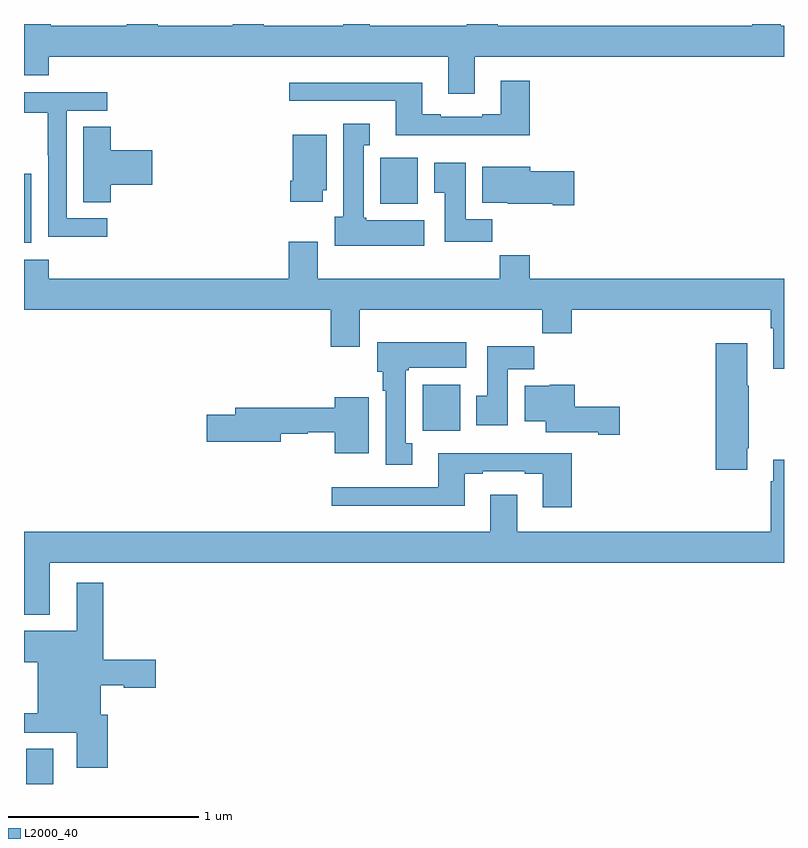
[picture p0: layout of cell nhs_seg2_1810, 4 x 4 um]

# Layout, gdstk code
import gdstk
lib = gdstk.Library(unit=1e-6, precision=1e-09)
def R(c, l, rs):  # rectangles x0, y0, x1, y1
    for r in rs: c.add(gdstk.rectangle(r[:2], r[2:], *l))
def P(c, l, *ps):  # polygons
    for p in ps: c.add(gdstk.Polygon(p, *l))
L2000_40 = (2000, 40)

nhs_seg2_1810 = lib.new_cell('nhs_seg2_1810')
R(nhs_seg2_1810, L2000_40, [(205.013,651.8,205.153,651.986), (207.098,653.66,207.295,653.902), (205,654.65,205.039,655.011), (206.876,654.854,207.073,655.096)])
P(nhs_seg2_1810, L2000_40, [(207.373,655.628),(209,655.628),(209,655.792),(208.983,655.792),(208.983,655.8),(208.832,655.8),(208.832,655.792),(207.493,655.792),(207.493,655.8),(207.329,655.8),(207.329,655.792),(206.819,655.792),(206.819,655.8),(206.681,655.8),(206.681,655.792),(206.263,655.792),(206.263,655.8),(206.099,655.8),(206.099,655.792),(205.705,655.792),(205.705,655.8),(205.541,655.8),(205.541,655.792),(205.141,655.792),(205.141,655.8),(205.001,655.8),(205.001,655.792),(205,655.792),(205,655.529),(205.13,655.529),(205.13,655.628),(207.233,655.628),(207.233,655.434),(207.373,655.434)],
  [(207.662,655.501),(207.509,655.501),(207.509,655.324),(207.413,655.324),(207.413,655.311),(207.193,655.311),(207.193,655.324),(207.097,655.324),(207.097,655.492),(206.397,655.492),(206.397,655.395),(206.957,655.395),(206.957,655.214),(207.662,655.214)],
  [(205.438,654.777),(205.224,654.777),(205.224,655.344),(205.438,655.344),(205.438,655.44),(205,655.44),(205,655.332),(205.126,655.332),(205.126,655.108),(205.128,655.108),(205.128,654.679),(205.438,654.679)],
  [(207.106,654.766),(206.802,654.766),(206.802,654.78),(206.788,654.78),(206.788,655.163),(206.821,655.163),(206.821,655.276),(206.681,655.276),(206.681,654.786),(206.636,654.786),(206.636,654.632),(207.106,654.632)],
  [(205.457,654.953),(205.675,654.953),(205.675,655.136),(205.457,655.136),(205.457,655.259),(205.313,655.259),(205.313,654.862),(205.457,654.862)],
  [(206.572,654.924),(206.593,654.924),(206.593,655.216),(206.414,655.216),(206.414,654.976),(206.402,654.976),(206.402,654.864),(206.572,654.864)],
  [(207.464,654.772),(207.325,654.772),(207.325,655.069),(207.158,655.069),(207.158,654.913),(207.215,654.913),(207.215,654.654),(207.464,654.654)],
  [(207.895,655.025),(207.664,655.025),(207.664,655.048),(207.413,655.048),(207.413,654.86),(207.546,654.86),(207.546,654.854),(207.782,654.854),(207.782,654.847),(207.895,654.847)],
  [(205,654.559),(205,654.296),(206.615,654.296),(206.615,654.102),(206.767,654.102),(206.767,654.296),(207.727,654.296),(207.727,654.172),(207.884,654.172),(207.884,654.296),(208.931,654.296),(208.931,654.2),(208.943,654.2),(208.943,653.985),(209,653.985),(209,654.46),(207.662,654.46),(207.662,654.584),(207.505,654.584),(207.505,654.46),(206.545,654.46),(206.545,654.655),(206.393,654.655),(206.393,654.46),(205.13,654.46),(205.13,654.559)],
  [(207.043,653.594),(207.01,653.594),(207.01,653.977),(207.024,653.977),(207.024,653.99),(207.328,653.99),(207.328,654.124),(206.858,654.124),(206.858,653.97),(206.888,653.97),(206.888,653.87),(206.903,653.87),(206.903,653.481),(207.043,653.481)],
  [(208.807,653.566),(208.815,653.566),(208.815,653.897),(208.807,653.897),(208.807,654.121),(208.64,654.121),(208.64,653.454),(208.807,653.454)],
  [(207.547,653.984),(207.686,653.984),(207.686,654.103),(207.437,654.103),(207.437,653.844),(207.38,653.844),(207.38,653.688),(207.547,653.688)],
  [(208.135,653.786),(207.899,653.786),(207.899,653.902),(207.768,653.902),(207.768,653.896),(207.635,653.896),(207.635,653.708),(207.746,653.708),(207.746,653.651),(208.022,653.651),(208.022,653.639),(208.135,653.639)],
  [(206.815,653.836),(206.636,653.836),(206.636,653.78),(206.111,653.78),(206.111,653.744),(205.962,653.744),(205.962,653.602),(206.35,653.602),(206.35,653.644),(206.493,653.644),(206.493,653.652),(206.636,653.652),(206.636,653.54),(206.815,653.54)],
  [(207.884,653.542),(207.179,653.542),(207.179,653.361),(206.619,653.361),(206.619,653.264),(207.319,653.264),(207.319,653.433),(207.415,653.433),(207.415,653.445),(207.635,653.445),(207.635,653.433),(207.731,653.433),(207.731,653.256),(207.884,653.256)],
  [(205.135,652.964),(209,652.964),(209,653.506),(208.943,653.506),(208.943,653.393),(208.931,653.393),(208.931,653.128),(207.595,653.128),(207.595,653.323),(207.455,653.323),(207.455,653.128),(205,653.128),(205,652.691),(205.135,652.691)],
  [(205.442,652.164),(205.405,652.164),(205.405,652.319),(205.525,652.319),(205.525,652.307),(205.693,652.307),(205.693,652.454),(205.418,652.454),(205.418,652.858),(205.277,652.858),(205.277,652.606),(205,652.606),(205,652.442),(205.073,652.442),(205.073,652.172),(205,652.172),(205,652.071),(205.277,652.071),(205.277,651.885),(205.442,651.885)])

lib.write_gds('nhs_seg2_1810.gds')
